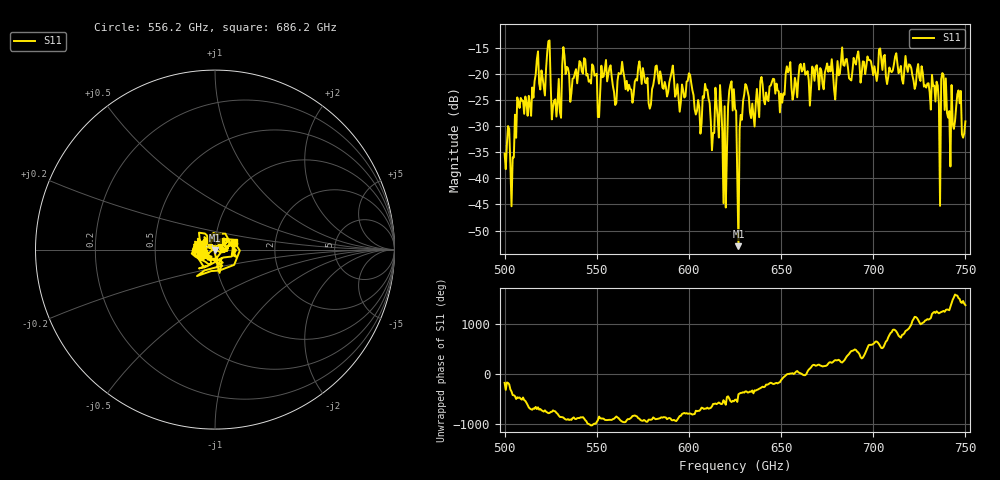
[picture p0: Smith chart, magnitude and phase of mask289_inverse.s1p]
!Created with skrf (http://scikit-rf.org).
# GHz S MA R 50.0
!freq magS11 angS11
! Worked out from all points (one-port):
!   401 points, 500 GHz to 750 GHz, reference 50 ohm
!   lowest |S11| = -53.0 dB at 626.9 GHz (marker M1), VSWR 1.00, Z = 50.2 - j0.146 ohm
!   |S11| at or under -10 dB: start of sweep to end of sweep
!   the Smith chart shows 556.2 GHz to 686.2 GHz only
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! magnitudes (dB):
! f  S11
! 500 GHz  -35.3
! 504.4 GHz  -36.0
! 508.1 GHz  -26.6
! 513.1 GHz  -24.2
! 517.5 GHz  -17.3
! 523.8 GHz  -13.8
! 526.9 GHz  -25.2
! 531.2 GHz  -18.4
! 562.5 GHz  -20.1
! 593.8 GHz  -22.0
! 609.4 GHz  -23.1
! 612.5 GHz  -34.6
! 615.6 GHz  -28.5
! 619.4 GHz  -26.2
! 622.5 GHz  -22.1
! 625 GHz  -26.8
! 626.9 GHz  -53.0
! 630.6 GHz  -22.0
! 634.4 GHz  -25.7
! 656.2 GHz  -25.0
! 687.5 GHz  -21.1
! 718.8 GHz  -19.7
! 733.1 GHz  -22.3
! 735 GHz  -22.3
! 738.1 GHz  -20.2
! 743.1 GHz  -29.6
! 746.2 GHz  -23.2
! 750 GHz  -29.1
